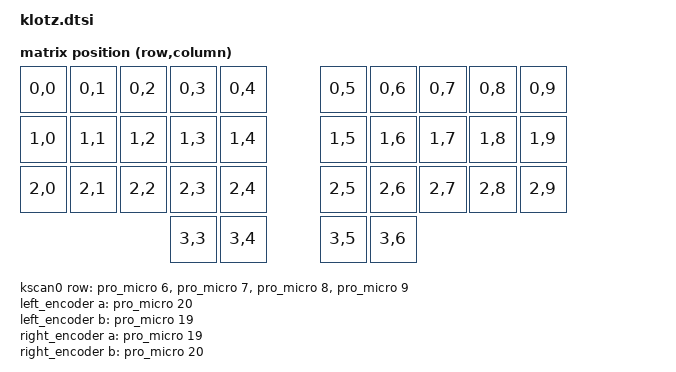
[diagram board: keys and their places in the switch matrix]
/*
 * Copyright (c) 2022 The ZMK Contributors
 *
 * SPDX-License-Identifier: MIT
 */

#include <dt-bindings/zmk/matrix_transform.h>
/* #include <nice_nano_v2-pinctrl.dtsi>
*/
/ {
	chosen {
		zmk,kscan = &kscan0;
		zmk,matrix_transform = &default_transform;
	};

	default_transform: keymap_transform {
		compatible = "zmk,matrix-transform";
		columns = <10>;
		rows = <4>;
		map = <
		RC(0,0) RC(0,1) RC(0,2) RC(0,3) RC(0,4)    RC(0,5) RC(0,6) RC(0,7) RC(0,8) RC(0,9)
		RC(1,0) RC(1,1) RC(1,2) RC(1,3) RC(1,4)    RC(1,5) RC(1,6) RC(1,7) RC(1,8) RC(1,9)
		RC(2,0) RC(2,1) RC(2,2) RC(2,3) RC(2,4)    RC(2,5) RC(2,6) RC(2,7) RC(2,8) RC(2,9)
		                        RC(3,3) RC(3,4)    RC(3,5) RC(3,6)
		>;
	};


	kscan0: kscan {
		compatible = "zmk,kscan-gpio-matrix";
		label = "KSCAN";

		diode-direction = "col2row";
		row-gpios
			= <&pro_micro 6 (GPIO_ACTIVE_HIGH | GPIO_PULL_DOWN)>
			, <&pro_micro 7 (GPIO_ACTIVE_HIGH | GPIO_PULL_DOWN)>
			, <&pro_micro 8 (GPIO_ACTIVE_HIGH | GPIO_PULL_DOWN)>
			, <&pro_micro 9 (GPIO_ACTIVE_HIGH | GPIO_PULL_DOWN)>
			;
	};

	left_encoder: encoder_left {
		compatible = "alps,ec11";
		label = "LEFT_ENCODER";
		a-gpios = <&pro_micro 20 (GPIO_ACTIVE_HIGH | GPIO_PULL_UP)>;
		b-gpios = <&pro_micro 19 (GPIO_ACTIVE_HIGH | GPIO_PULL_UP)>;
		resolution = <4>;
		//status = "disabled";
	};

	right_encoder: encoder_right {
		compatible = "alps,ec11";
		label = "RIGHT_ENCODER";
		a-gpios = <&pro_micro 19 (GPIO_ACTIVE_HIGH | GPIO_PULL_UP)>;
		b-gpios = <&pro_micro 20 (GPIO_ACTIVE_HIGH | GPIO_PULL_UP)>;
		resolution = <4>;
		//status = "disabled";
	};

	sensors {
		compatible = "zmk,keymap-sensors";
		sensors = <&left_encoder &right_encoder>;
	};
};
